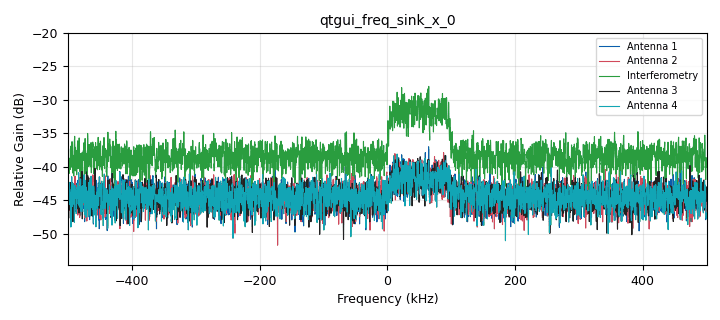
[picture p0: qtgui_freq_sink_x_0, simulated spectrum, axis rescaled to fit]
options:
  parameters:
    author: SETI Institute
    generate_options: qt_gui
    id: Interferometry
    output_language: python
    title: Interferometry
  states: {}

blocks:
- name: bandwidth
  id: variable_qtgui_entry
  parameters:
    label: Signal Bandwidth (kHz)
    type: real
    value: '100'
  states: {}
- name: delay_diff
  id: variable_qtgui_entry
  parameters:
    label: Delay difference (samples) (ANT2)
    type: int
    value: '0'
  states: {}
- name: delay_diff_2
  id: variable_qtgui_entry
  parameters:
    label: Delay difference (samples) (ANT3)
    type: int
    value: '0'
  states: {}
- name: delay_diff_3
  id: variable_qtgui_entry
  parameters:
    label: Delay difference (samples) (ANT4)
    type: int
    value: '0'
  states: {}
- name: delay_rate_diff
  id: variable_qtgui_entry
  parameters:
    label: Delay rate difference (ppm) (ANT2)
    type: real
    value: '0'
  states: {}
- name: delay_rate_diff_2
  id: variable_qtgui_entry
  parameters:
    label: Delay rate difference (ppm) (ANT3)
    type: real
    value: '0'
  states: {}
- name: delay_rate_diff_3
  id: variable_qtgui_entry
  parameters:
    label: Delay rate difference (ppm) (ANT4)
    type: real
    value: '0'
  states: {}
- name: freq_diff
  id: variable_qtgui_entry
  parameters:
    label: Frequency difference (Hz) (ANT2)
    type: real
    value: '0'
  states: {}
- name: freq_diff_2
  id: variable_qtgui_entry
  parameters:
    label: Frequency difference (Hz) (ANT3)
    type: real
    value: '0'
  states: {}
- name: freq_diff_3
  id: variable_qtgui_entry
  parameters:
    label: Frequency difference (Hz) (ANT4)
    type: real
    value: '0'
  states: {}
- name: frequency
  id: variable_qtgui_entry
  parameters:
    label: Signal frequency (kHz)
    type: real
    value: '50'
  states: {}
- name: phase_diff
  id: variable_qtgui_entry
  parameters:
    label: Phase difference (deg) (ANT2)
    type: real
    value: '0'
  states: {}
- name: phase_diff_2
  id: variable_qtgui_entry
  parameters:
    label: Phase difference (deg) (ANT3)
    type: real
    value: '0'
  states: {}
- name: phase_diff_3
  id: variable_qtgui_entry
  parameters:
    label: Phase difference (deg) (ANT4)
    type: real
    value: '0'
  states: {}
- name: samp_rate
  id: variable
  parameters:
    value: '1000000'
  states: {}
- name: snr
  id: variable_qtgui_entry
  parameters:
    label: Signal to Noise Ratio (SNR)
    type: real
    value: '0'
  states: {}
- name: analog_noise_source_x_1
  id: analog_noise_source_x
  parameters:
    amp: np.sqrt(10**(snr/10.0)/(samp_rate/(bandwidth*1e3)))
    noise_type: analog.GR_GAUSSIAN
    seed: '0'
    type: complex
  states: {}
- name: analog_sig_source_x_0
  id: analog_sig_source_x
  parameters:
    amp: '1'
    freq: frequency*1e3
    offset: '0'
    phase: '0'
    samp_rate: samp_rate
    type: complex
    waveform: analog.GR_COS_WAVE
  states: {}
- name: blocks_add_xx_1
  id: blocks_add_xx
  parameters:
    num_inputs: '4'
    type: complex
  states: {}
- name: blocks_delay_0
  id: blocks_delay
  parameters:
    delay: delay_diff
    type: complex
  states: {}
- name: blocks_delay_0_0
  id: blocks_delay
  parameters:
    delay: delay_diff_2
    type: complex
  states: {}
- name: blocks_delay_0_0_0
  id: blocks_delay
  parameters:
    delay: delay_diff_3
    type: complex
  states: {}
- name: blocks_multiply_xx_0
  id: blocks_multiply_xx
  parameters:
    type: complex
  states: {}
- name: blocks_throttle2_0
  id: blocks_throttle2
  parameters:
    samples_per_second: samp_rate
    type: complex
  states: {}
- name: channels_channel_model_0
  id: channels_channel_model
  parameters:
    epsilon: 1.0 + delay_rate_diff * 1e-6
    freq_offset: freq_diff / samp_rate
    noise_voltage: '1.0'
    seed: '2'
    taps: np.exp(1j * np.deg2rad(phase_diff))
  states: {}
- name: channels_channel_model_0_0
  id: channels_channel_model
  parameters:
    epsilon: '1.0'
    freq_offset: '0.0'
    noise_voltage: '1.0'
    seed: '1'
    taps: '1.0'
  states: {}
- name: channels_channel_model_0_1
  id: channels_channel_model
  parameters:
    epsilon: 1.0 + delay_rate_diff_2 * 1e-6
    freq_offset: freq_diff_2 / samp_rate
    noise_voltage: '1.0'
    seed: '3'
    taps: np.exp(1j * np.deg2rad(phase_diff_2))
  states: {}
- name: channels_channel_model_0_1_0
  id: channels_channel_model
  parameters:
    epsilon: 1.0 + delay_rate_diff_3 * 1e-6
    freq_offset: freq_diff_3 / samp_rate
    noise_voltage: '1.0'
    seed: '4'
    taps: np.exp(1j * np.deg2rad(phase_diff_3))
  states: {}
- name: import_0
  id: import
  parameters:
    imports: import numpy as np
  states: {}
- name: note_0
  id: note
  parameters:
    note: Antenna 1
  states: {}
- name: note_0_0
  id: note
  parameters:
    note: Antenna 2
  states: {}
- name: note_0_0_0
  id: note
  parameters:
    note: Antenna 3
  states: {}
- name: note_0_0_0_0
  id: note
  parameters:
    note: Antenna 3
  states: {}
- name: note_1
  id: note
  parameters:
    note: Simulated Signal
  states: {}
- name: pfb_arb_resampler_xxx_0
  id: pfb_arb_resampler_xxx
  parameters:
    atten: '100'
    nfilts: '32'
    rrate: samp_rate/(bandwidth*1e3)
    type: ccf
  states: {}
- name: qtgui_freq_sink_x_0
  id: qtgui_freq_sink_x
  parameters:
    average: '0.05'
    bw: samp_rate
    color4: '"yellow"'
    fc: '0'
    fftsize: '4096'
    label1: Antenna 1
    label2: Antenna 2
    label3: Interferometry
    label4: Antenna 3
    label5: Antenna 4
    nconnections: '5'
    type: complex
    ymax: '-30'
    ymin: '-50'
  states: {}
- name: virtual_sink_0
  id: virtual_sink
  parameters:
    stream_id: astro_signal
  states: {}
- name: virtual_source_0
  id: virtual_source
  parameters:
    stream_id: astro_signal
  states: {}
- name: virtual_source_0_0
  id: virtual_source
  parameters:
    stream_id: astro_signal
  states: {}
- name: virtual_source_0_0_0
  id: virtual_source
  parameters:
    stream_id: astro_signal
  states: {}
- name: virtual_source_0_0_0_0
  id: virtual_source
  parameters:
    stream_id: astro_signal
  states: {}

connections:
- [analog_noise_source_x_1, '0', pfb_arb_resampler_xxx_0, '0']
- [analog_sig_source_x_0, '0', blocks_multiply_xx_0, '1']
- [blocks_add_xx_1, '0', qtgui_freq_sink_x_0, '2']
- [blocks_delay_0, '0', blocks_add_xx_1, '1']
- [blocks_delay_0, '0', qtgui_freq_sink_x_0, '1']
- [blocks_delay_0_0, '0', blocks_add_xx_1, '2']
- [blocks_delay_0_0, '0', qtgui_freq_sink_x_0, '3']
- [blocks_delay_0_0_0, '0', blocks_add_xx_1, '3']
- [blocks_delay_0_0_0, '0', qtgui_freq_sink_x_0, '4']
- [blocks_multiply_xx_0, '0', blocks_throttle2_0, '0']
- [blocks_throttle2_0, '0', virtual_sink_0, '0']
- [channels_channel_model_0, '0', blocks_delay_0, '0']
- [channels_channel_model_0_0, '0', blocks_add_xx_1, '0']
- [channels_channel_model_0_0, '0', qtgui_freq_sink_x_0, '0']
- [channels_channel_model_0_1, '0', blocks_delay_0_0, '0']
- [channels_channel_model_0_1_0, '0', blocks_delay_0_0_0, '0']
- [pfb_arb_resampler_xxx_0, '0', blocks_multiply_xx_0, '0']
- [virtual_source_0, '0', channels_channel_model_0_0, '0']
- [virtual_source_0_0, '0', channels_channel_model_0, '0']
- [virtual_source_0_0_0, '0', channels_channel_model_0_1, '0']
- [virtual_source_0_0_0_0, '0', channels_channel_model_0_1_0, '0']

metadata:
  file_format: 1
  grc_version: 3.10.12.0
